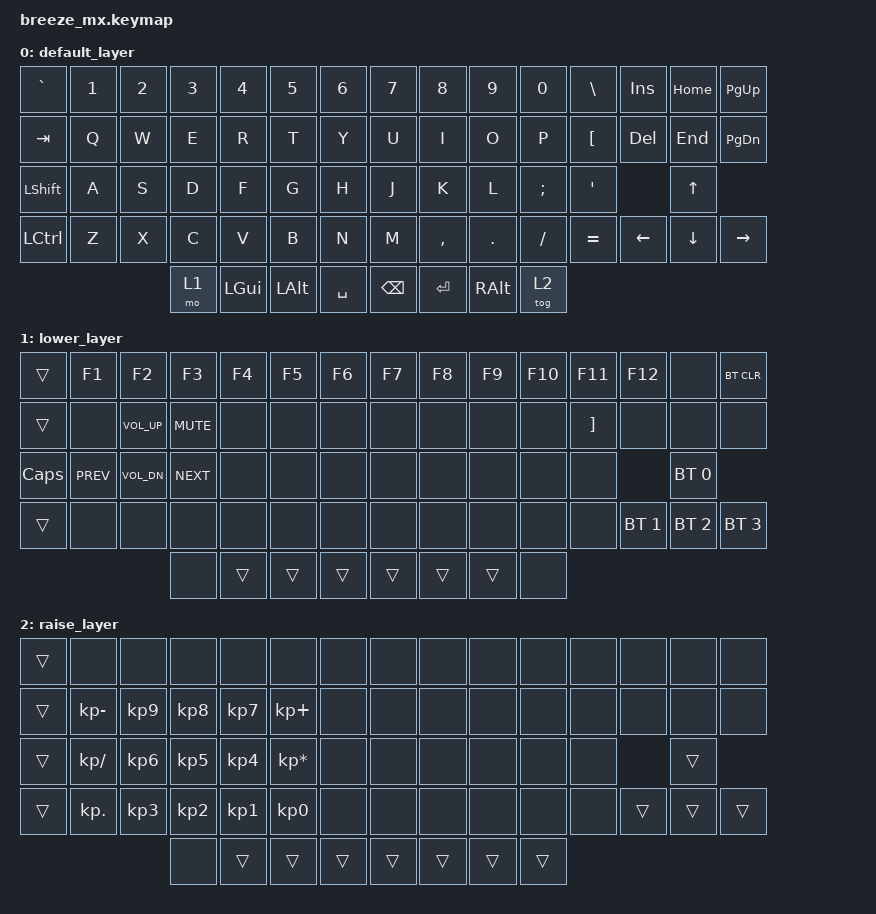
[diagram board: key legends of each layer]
/*
 * Copyright (c) 2022 The ZMK Contributors
 *
 * SPDX-License-Identifier: MIT
 */

#include <behaviors.dtsi>
#include <dt-bindings/zmk/keys.h>
#include <dt-bindings/zmk/bt.h>
#include <dt-bindings/zmk/ext_power.h>

/ {
	keymap {
		compatible = "zmk,keymap";

		default_layer {

// Ref: https://zmkfirmware.dev/docs/codes/

// ----------------------------------------------------------------------------------------------------------------------------------
// | GRAVE |  1  |  2  |  3   |  4   |  5   |                   |  6   |  7    |  8    |  9   |   0   |  \   | | INS | HOME | PGUP |
// |  TAB  |  Q  |  W  |  E   |  R   |  T   |                   |  Y   |  U    |  I    |  O   |   P   |  [   | | DEL | END  | PGDN |
// | SHIFT |  A  |  S  |  D   |  F   |  G   |                   |  H   |  J    |  K    |  L   |   ;   |  '   | |     |  UP  |      |
// | LCTRL |  Z  |  X  |  C   |  V   |  B   |                   |  N   |  M    |  ,    |  .   |   /   |  =   | |LEFT | DOWN |RIGHT |
//                     |LOWER | LGUI | LALT | SPACE |   | BSPACE| ENTER| RALT  | RAISE |
			bindings = <
&kp GRAVE   &kp N1 &kp N2 &kp N3  &kp N4   &kp N5                      &kp N6   &kp N7   &kp N8    &kp N9  &kp N0   &kp BSLH   &kp INS   &kp HOME  &kp PG_UP
&kp TAB     &kp Q  &kp W  &kp E   &kp R    &kp T                       &kp Y    &kp U    &kp I     &kp O   &kp P    &kp LBKT   &kp DEL   &kp END   &kp PG_DN
&kp LSHFT   &kp A  &kp S  &kp D   &kp F    &kp G                       &kp H    &kp J    &kp K     &kp L   &kp SEMI &kp APOS             &kp UP 
&kp LCTRL   &kp Z  &kp X  &kp C   &kp V    &kp B                       &kp N    &kp M    &kp COMMA &kp DOT &kp FSLH &kp EQUAL  &kp LEFT  &kp DOWN  &kp RIGHT
                          &mo 1   &kp LGUI &kp LALT &kp SPACE &kp BSPC &kp RET  &kp RALT &tog 2
			>;
		};

		lower_layer {
// ---------------------------------------------------------------------------------------------------------------------------------- 
// | GRAVE |  F1 |  F2 |  F3  |  F4  |  F5  |                   |  F6  |  F7  |  F8  |  F9  |  F10  |  F11  | |  F12  |      |BT_CLR | 
// | TAB   |     |Vol+ | Mute |      |      |                   |      |      |      |      |       |   ]   | |       |      |       | 
// | CAPS  |Prev |Vol- | Next |      |      |                   |      |      |      |      |       |       | |       | BT1  |       | 
// | LCTRL |     |     |      |      |      |                   |      |      |      |      |       |       | | BT2   | BT2  | BT3   | 
//                     |      | LGUI | LALT | SPACE |  | BSPACE |ENTER | RALT |      |
			bindings = <
&trans   &kp F1     &kp F2       &kp F3     &kp F4  &kp F5                       &kp F6  &kp F7  &kp F8  &kp F9 &kp F10 &kp F11      &kp F12      &none         &bt BT_CLR
&trans   &none      &kp C_VOL_UP &kp C_MUTE &none   &none                        &none   &none   &none   &none  &none   &kp RBKT    &none        &none         &none
&kp CAPS &kp C_PREV &kp C_VOL_DN &kp C_NEXT &none   &none                        &none   &none   &none   &none  &none   &none                     &bt BT_SEL 0
&trans   &none      &none        &none      &none   &none                        &none   &none   &none   &none  &none   &none        &bt BT_SEL 1 &bt BT_SEL 2  &bt BT_SEL 3
                                 &none      &trans  &trans  &trans       &trans  &trans  &trans  &none
			>;
		};

		raise_layer {
//  ------------------------------------                      ---------------------------------------------------------------------
// |GRAVE |     |     |     |     |     |                    |      |       |       |      |       |       | |      |      |       | 
// | TAB  |  -  |  9  |  8  |  7  |  +  |                    |      |       |       |      |       |       | |      |      |       | 
// |LSHIFT|  /  |  6  |  5  |  4  |  *  |                    |      |       |       |      |       |       | |      |  UP  |       | 
// |LCTRL |  .  |  3  |  2  |  1  |  0  |                    |      |       |       |      |       |       | | LEFT | DOWN | RIGHT | 
//                    |     |LGUI |LALT | SPACE |   | BSPACE |ENTER | RALT  | RAISE |
			bindings = <
&trans &none         &none     &none     &none     &none                             &none  &none  &none  &none &none &none     &none  &none  &none
&trans &kp KP_MINUS  &kp KP_N9 &kp KP_N8 &kp KP_N7 &kp KP_PLUS                       &none  &none  &none  &none &none &none     &none  &none  &none
&trans &kp KP_DIVIDE &kp KP_N6 &kp KP_N5 &kp KP_N4 &kp KP_MULTIPLY                   &none  &none  &none  &none &none &none            &trans
&trans &kp KP_DOT    &kp KP_N3 &kp KP_N2 &kp KP_N1 &kp KP_N0                         &none  &none  &none  &none &none &none     &trans &trans &trans
                               &none     &trans    &trans          &trans     &trans &trans &trans &trans
			>;
		};
	};
};
